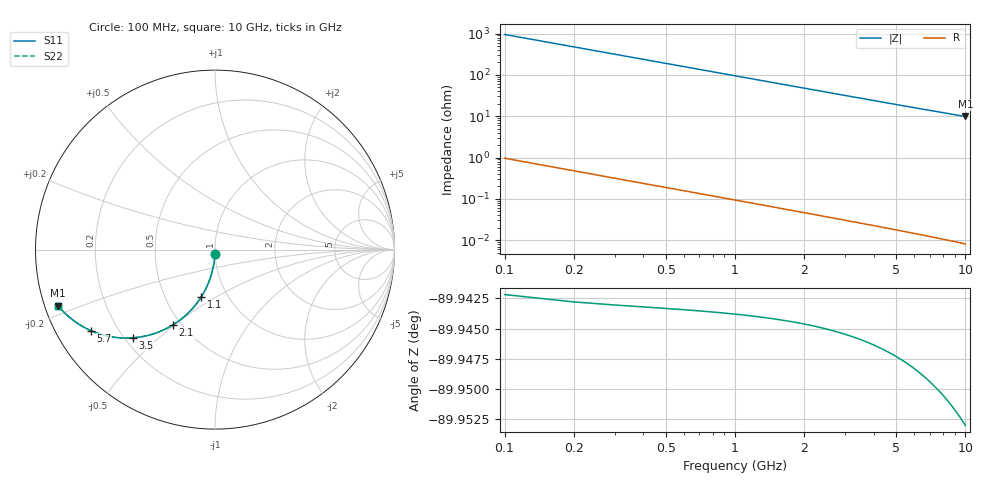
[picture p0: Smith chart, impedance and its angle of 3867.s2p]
# Hz S RI R 50.00
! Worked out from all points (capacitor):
!   100 points, 100 MHz to 10 GHz, reference 50 ohm
!   read as one part in shunt: C = 1.67 pF near 100 MHz
!   lowest |Z| = 9.86 ohm at 10 GHz (marker M1)
!   S11 on the Smith chart (normalised r, x): 100 MHz: 1.00, -0.05; 1.1 GHz: 0.75, -0.43; 2.1 GHz: 0.45, -0.49; 3.5 GHz: 0.23, -0.42; 5.7 GHz: 0.10, -0.29; 10 GHz: 0.04, -0.17
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1e8  -0.000648 -0.0261  0.9992 -0.0264  0.9992 -0.0264  -0.000648 -0.0261
2e8  -0.00273 -0.052  0.9971 -0.0527  0.9971 -0.0527  -0.00273 -0.052
3e8  -0.00617 -0.0777  0.9937 -0.0788  0.9937 -0.0788  -0.00617 -0.0777
4e8  -0.0109 -0.1032  0.9889 -0.1045  0.9889 -0.1045  -0.0109 -0.1032
5e8  -0.017 -0.1281  0.9829 -0.1299  0.9829 -0.1299  -0.017 -0.1281
6e8  -0.0243 -0.1526  0.9756 -0.1547  0.9756 -0.1547  -0.0243 -0.1526
7e8  -0.0328 -0.1765  0.9671 -0.1789  0.9671 -0.1789  -0.0328 -0.1765
9e8  -0.053 -0.2221  0.9469 -0.2252  0.9469 -0.2252  -0.053 -0.2221
1.1e9  -0.0771 -0.2645  0.9227 -0.2683  0.9227 -0.2683  -0.0771 -0.2645
1.4e9  -0.1192 -0.3212  0.8807 -0.326  0.8807 -0.326  -0.1192 -0.3212
1.8e9  -0.1828 -0.3829  0.8171 -0.3891  0.8171 -0.3891  -0.1828 -0.3829
2.1e9  -0.2333 -0.4189  0.7665 -0.4261  0.7665 -0.4261  -0.2333 -0.4189
2.7e9  -0.3347 -0.4667  0.6651 -0.4761  0.6651 -0.4761  -0.3347 -0.4667
3.4e9  -0.4438 -0.4904  0.556 -0.5023  0.556 -0.5023  -0.4438 -0.4904
3.5e9  -0.4582 -0.4917  0.5416 -0.5038  0.5416 -0.5038  -0.4582 -0.4917
4.3e9  -0.5609 -0.4882  0.4388 -0.5033  0.4388 -0.5033  -0.5609 -0.4882
5.1e9  -0.6427 -0.4697  0.357 -0.4876  0.357 -0.4876  -0.6427 -0.4697
5.7e9  -0.6922 -0.451  0.3074 -0.471  0.3074 -0.471  -0.6922 -0.451
6.7e9  -0.757 -0.4164  0.2426 -0.4401  0.2426 -0.4401  -0.757 -0.4164
7.5e9  -0.7964 -0.3887  0.2031 -0.4153  0.2031 -0.4153  -0.7964 -0.3887
8.4e9  -0.8311 -0.3589  0.1683 -0.3889  0.1683 -0.3889  -0.8311 -0.3589
1e10  -0.8752 -0.3116  0.124 -0.3475  0.124 -0.3475  -0.8752 -0.3116
